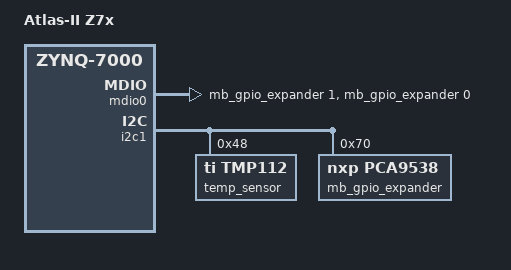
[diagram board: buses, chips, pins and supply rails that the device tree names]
#include <atlas-z7-inc.dtsi>
#include <dt-bindings/gpio/gpio.h>

/ {
    model = "Atlas-II Z7x";
    compatible = "iveia,00068", "iveia,atlas-z7", "xlnx,zynq-7000";

    aliases {
        mdio-gpio0 = &mdio0;
    };

    mdio0: ethernet-phy {
        compatible = "virtual,mdio-gpio";
        gpios = <&mb_gpio_expander 1 GPIO_ACTIVE_HIGH>, /* MDC */
            <&mb_gpio_expander 0 GPIO_ACTIVE_HIGH>; /* MDIO */
        #address-cells = <1>;
        #size-cells = <0>;
    };
};

&gem0 {
    status = "disabled";

    /*
     * gem0's own native MDIO controller is disconnected.  The MDIO in use is
     * on I2C GPIO expander.  As of 2024.2 Xilinx, we must define this or else
     * we slow boot by 40 seconds doing an MDIO bus scan.
     */
    mdio {
        #address-cells = <1>;
        #size-cells = <0>;
    };
};

&gem1 {
    status = "disabled";
};

&i2c1 {
    status = "okay";

	temp_sensor: temp_sensor@48 {
		compatible = "ti,tmp112";
        reg = <0x48>;
        // temp_alert routed through pl, thus not enabled here                  
    };

    mb_gpio_expander: gpio_expander@70 {
        compatible = "nxp,pca9538";
        reg = <0x70>;
        gpio-controller;
        #gpio-cells = <2>;
    };
};

&iv_ipmi_mb {
    wp-gpios = <&mb_gpio_expander 6 GPIO_ACTIVE_LOW>;
};

